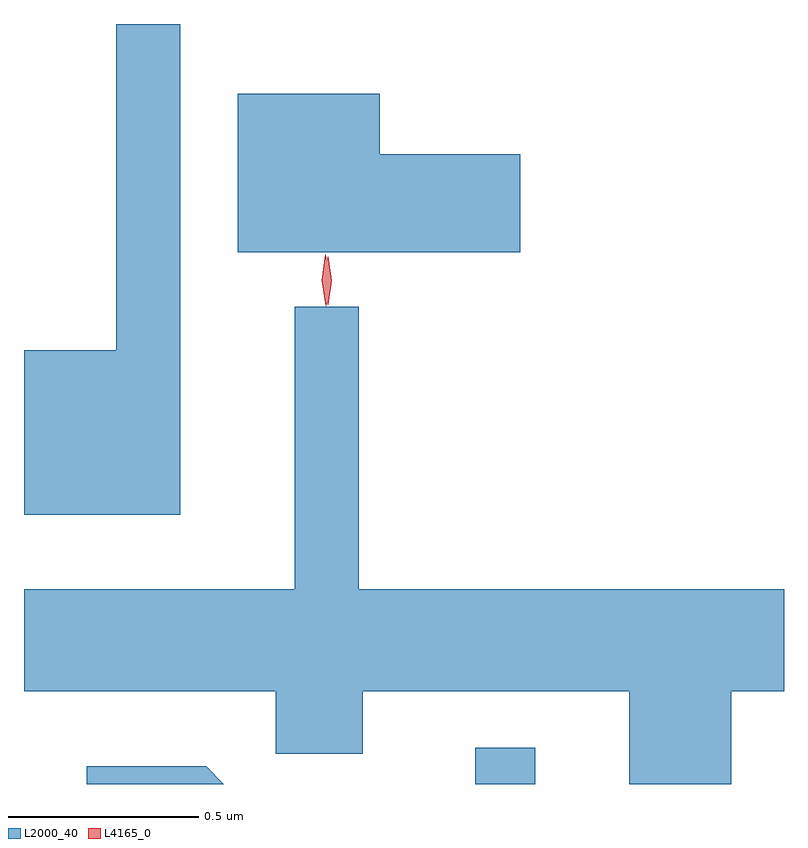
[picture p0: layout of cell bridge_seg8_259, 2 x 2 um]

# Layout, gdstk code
import gdstk
lib = gdstk.Library(unit=1e-6, precision=1e-09)
def R(c, l, rs):  # rectangles x0, y0, x1, y1
    for r in rs: c.add(gdstk.rectangle(r[:2], r[2:], *l))
def P(c, l, *ps):  # polygons
    for p in ps: c.add(gdstk.Polygon(p, *l))
L2000_40 = (2000, 40)
L4165_0 = (4165, 0)

bridge_seg8_259 = lib.new_cell('bridge_seg8_259')
R(bridge_seg8_259, L2000_40, [(1116.326,1842.832,1116.484,1842.928)])
P(bridge_seg8_259, L2000_40, [(1115.549,1844.832),(1115.381,1844.832),(1115.381,1843.974),(1115.138,1843.974),(1115.138,1843.541),(1115.549,1843.541)],
  [(1116.444,1844.489),(1116.074,1844.489),(1116.074,1844.649),(1115.701,1844.649),(1115.701,1844.231),(1116.444,1844.231)],
  [(1116.999,1843.076),(1117.138,1843.076),(1117.138,1843.344),(1116.019,1843.344),(1116.019,1844.088),(1115.851,1844.088),(1115.851,1843.344),(1115.138,1843.344),(1115.138,1843.076),(1115.801,1843.076),(1115.801,1842.911),(1116.029,1842.911),(1116.029,1843.076),(1116.731,1843.076),(1116.731,1842.832),(1116.999,1842.832)],
  [(1115.617,1842.879),(1115.303,1842.879),(1115.303,1842.832),(1115.664,1842.832)])
P(bridge_seg8_259, L4165_0, [(1115.932,1844.09),(1115.932,1844.09),(1115.922,1844.158),(1115.931,1844.225),(1115.931,1844.226),(1115.932,1844.225),(1115.942,1844.158),(1115.933,1844.09)],
  [(1115.937,1844.093),(1115.928,1844.156),(1115.937,1844.219),(1115.938,1844.22),(1115.938,1844.219),(1115.948,1844.156),(1115.938,1844.093),(1115.938,1844.093)])

lib.write_gds('bridge_seg8_259.gds')
